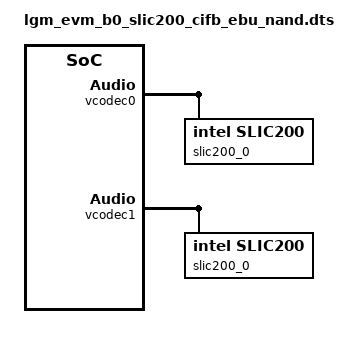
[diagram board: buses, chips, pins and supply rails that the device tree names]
#include "lgm_evm_b0_ebu_nand.dts"

/* Set type of DC/DC converter to CIFB12 */
&vcodec0 {
	slic200_0 {
		compatible = "intel,slic200";
		dcdc_type = "CIFB";
	};
};

&vcodec1 {
	slic200_0 {
		compatible = "intel,slic200";
		dcdc_type = "CIFB";
	};
};
